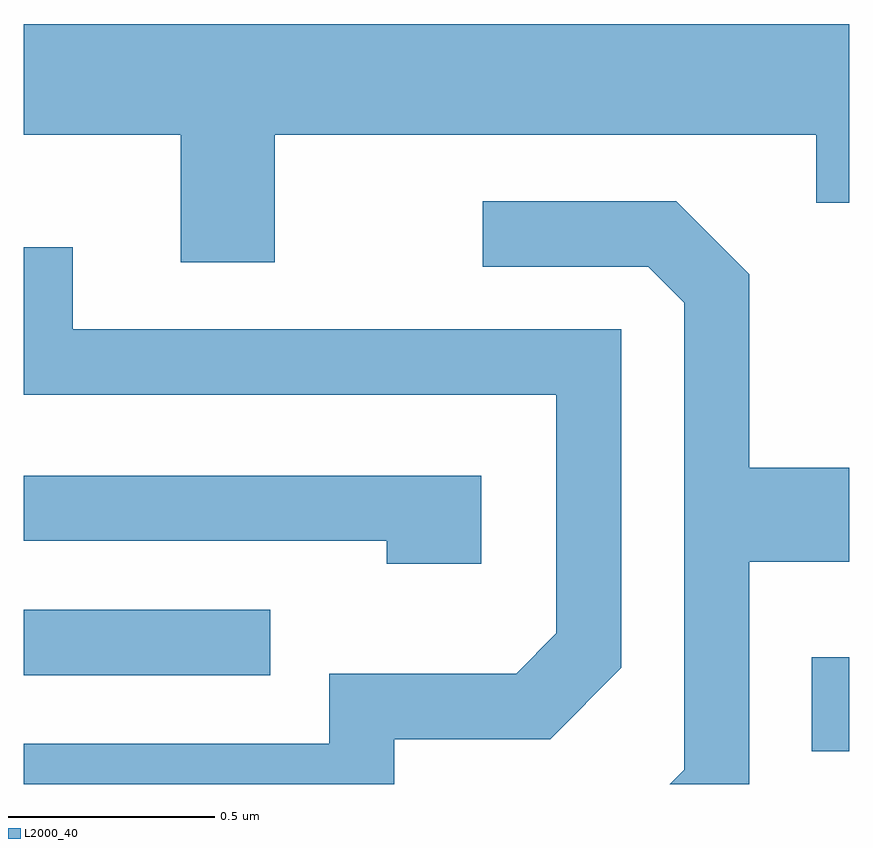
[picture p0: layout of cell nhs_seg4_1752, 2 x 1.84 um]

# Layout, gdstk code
import gdstk
lib = gdstk.Library(unit=1e-6, precision=1e-09)
def R(c, l, rs):  # rectangles x0, y0, x1, y1
    for r in rs: c.add(gdstk.rectangle(r[:2], r[2:], *l))
def P(c, l, *ps):  # polygons
    for p in ps: c.add(gdstk.Polygon(p, *l))
L2000_40 = (2000, 40)

nhs_seg4_1752 = lib.new_cell('nhs_seg4_1752')
R(nhs_seg4_1752, L2000_40, [(199.521,1362.061,199.611,1362.289), (197.611,1362.246,198.208,1362.404)])
P(nhs_seg4_1752, L2000_40, [(198.219,1363.556),(199.531,1363.556),(199.531,1363.391),(199.611,1363.391),(199.611,1363.824),(197.611,1363.824),(197.611,1363.556),(197.991,1363.556),(197.991,1363.246),(198.219,1363.246)],
  [(199.369,1362.521),(199.611,1362.521),(199.611,1362.749),(199.369,1362.749),(199.369,1363.217),(199.192,1363.394),(198.723,1363.394),(198.723,1363.236),(199.124,1363.236),(199.211,1363.149),(199.211,1362.017),(199.176,1361.982),(199.369,1361.982)],
  [(198.509,1362.091),(198.887,1362.091),(199.059,1362.264),(199.059,1363.084),(197.729,1363.084),(197.729,1363.283),(197.611,1363.283),(197.611,1362.926),(198.901,1362.926),(198.901,1362.347),(198.804,1362.249),(198.351,1362.249),(198.351,1362.079),(197.611,1362.079),(197.611,1361.982),(198.509,1361.982)],
  [(198.719,1362.729),(197.611,1362.729),(197.611,1362.571),(198.491,1362.571),(198.491,1362.516),(198.719,1362.516)])

lib.write_gds('nhs_seg4_1752.gds')
